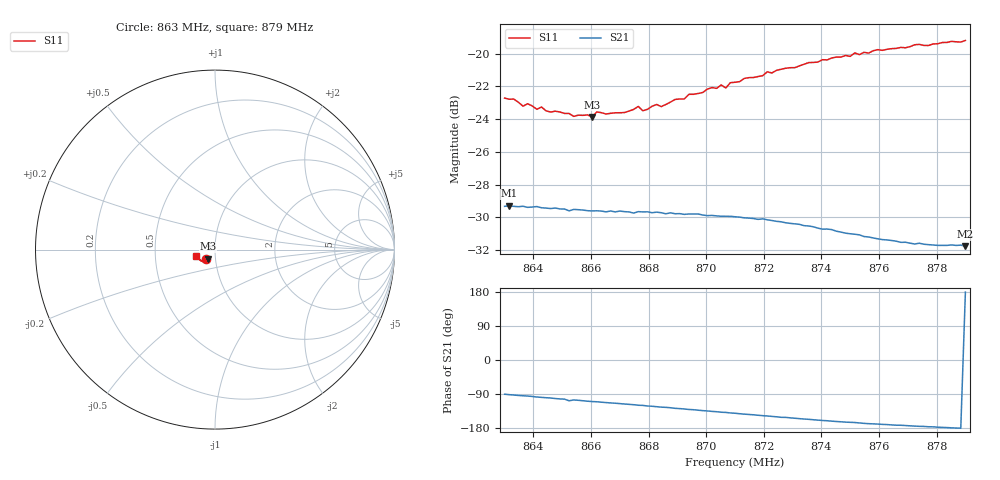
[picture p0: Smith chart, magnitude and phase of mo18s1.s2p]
# HZ S RI R 50
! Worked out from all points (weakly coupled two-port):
!   101 points, 863 MHz to 879 MHz, reference 50 ohm
!   highest |S21| = -29.30 dB at 863.16 MHz (marker M1); lowest = -31.8 dB at 879 MHz (marker M2)
!   lowest |S11| = -23.9 dB at 866.04 MHz (marker M3), VSWR 1.14, Z = 46 - j4.64 ohm
!   |S11| at or under -10 dB: start of sweep to end of sweep
!   S12 and S22 are empty: the file has one direction only
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8.63e8  -0.0525 -0.0509  -0.000148 -0.0342  0 0  0 0
8.6316e8  -0.0517 -0.051  -0.000899 -0.0343  0 0  0 0
8.6412e8  -0.0456 -0.0499  -0.00453 -0.0338  0 0  0 0
8.6428e8  -0.046 -0.051  -0.00507 -0.0334  0 0  0 0
8.646e8  -0.0447 -0.049  -0.00597 -0.0331  0 0  0 0
8.6572e8  -0.0401 -0.0509  -0.01 -0.0317  0 0  0 0
8.6604e8  -0.0397 -0.0503  -0.0111 -0.0311  0 0  0 0
8.662e8  -0.0406 -0.0525  -0.0114 -0.0311  0 0  0 0
8.6716e8  -0.0385 -0.0538  -0.0145 -0.0295  0 0  0 0
8.6764e8  -0.0399 -0.0564  -0.0162 -0.0287  0 0  0 0
8.678e8  -0.0376 -0.0554  -0.0163 -0.0285  0 0  0 0
8.6828e8  -0.0382 -0.0586  -0.018 -0.0274  0 0  0 0
8.6844e8  -0.0391 -0.0568  -0.0184 -0.0269  0 0  0 0
8.6892e8  -0.0398 -0.0606  -0.0198 -0.0257  0 0  0 0
8.6924e8  -0.0406 -0.0604  -0.0204 -0.025  0 0  0 0
8.694e8  -0.0421 -0.0622  -0.021 -0.0246  0 0  0 0
8.7052e8  -0.0463 -0.0656  -0.0236 -0.0214  0 0  0 0
8.7068e8  -0.0453 -0.0642  -0.0238 -0.0212  0 0  0 0
8.71e8  -0.0488 -0.0657  -0.0245 -0.0202  0 0  0 0
8.7372e8  -0.0665 -0.0665  -0.0273 -0.0112  0 0  0 0
8.7644e8  -0.088 -0.0548  -0.0265 -0.00407  0 0  0 0
8.79e8  -0.1045 -0.0337  -0.0258 0.000412  0 0  0 0
